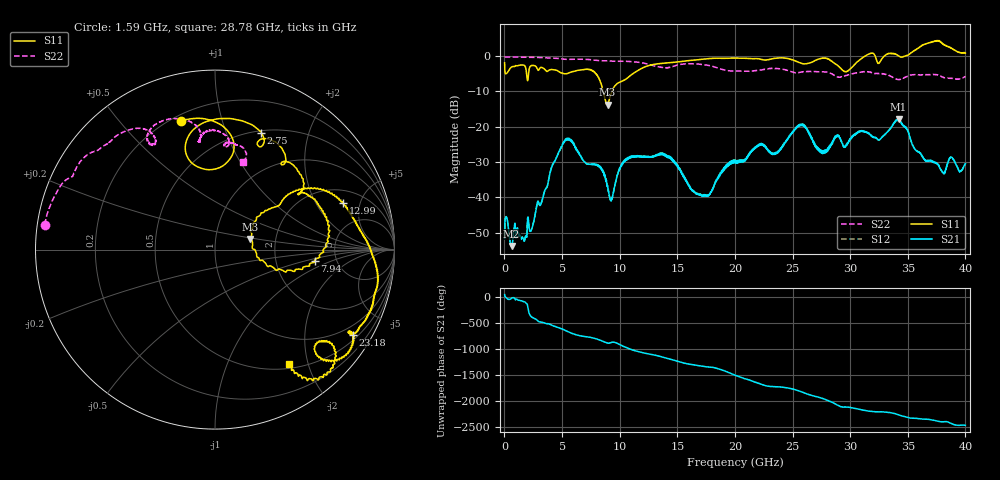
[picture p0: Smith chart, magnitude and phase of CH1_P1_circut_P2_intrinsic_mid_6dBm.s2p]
!Keysight Technologies,N5222B,MY61257109,A.17.25.03
!Date: Wednesday, July 22, 2026 17:37:06
!Correction: S11(C  2-Port  )
!S21(C  2-Port  )
!S12(C  2-Port  )
!S22(C  2-Port  )
!S2P File: Measurements: S11, S21, S12, S22:
# Hz S  dB  R 50
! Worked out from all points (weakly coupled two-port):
!   4000 points, 10 MHz to 40 GHz, reference 50 ohm
!   highest |S21| = -17.96 dB at 34.2 GHz (marker M1); lowest = -53.7 dB at 610 MHz (marker M2)
!   lowest |S11| = -13.8 dB at 8.95 GHz (marker M3), VSWR 1.51, Z = 73.7 + j9.02 ohm
!   |S11| at or under -10 dB: 8.564 GHz to 9.321 GHz (756.6 MHz wide, 8.46 % of centre)
!   |S22| runs from -6.7 to -0.3 dB; largest |S21 - S12| = 0.0058
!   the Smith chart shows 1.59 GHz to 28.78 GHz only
!   S11 on the Smith chart (normalised r, x): 1.59 GHz: 0.23, +0.74; 2.75 GHz: 0.52, +1.34; 7.94 GHz: 3.40, -0.63; 12.99 GHz: 2.85, +3.45; 23.18 GHz: 0.66, -3.38; 28.78 GHz: 0.57, -1.69
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1e7  -1.97 -53.1  -51.65 50.8  -51.20 49.5  -0.35 179.8
2.3e8  -4.81 -174.5  -46.08 -27.2  -46.15 -27.6  -0.33 178.8
6.1e8  -3.15 160.5  -53.74 -23.1  -53.77 -23.0  -0.33 176.8
1.59e9  -2.58 104.9  -51.54 -80.2  -51.53 -80.5  -0.36 171.6
2.75e9  -3.08 68.4  -43.26 -69.0  -43.16 -69.8  -0.44 165.5
5.23e9  -5.09 33.4  -23.82 84.7  -24.12 82.8  -0.96 153.2
6.68e9  -3.98 21.2  -28.81 -29.8  -28.78 -29.9  -0.95 147.3
7.94e9  -5.06 -6.6  -30.76 -82.0  -30.82 -82.4  -1.26 140.8
8.95e9  -13.78 16.6  -36.69 -166.3  -37.30 -164.0  -1.43 137.0
1.299e10  -2.42 20.0  -28.47 -35.8  -28.43 -35.9  -2.81 118.5
1.334e10  -2.26 16.9  -28.08 -53.3  -27.68 -51.9  -3.08 118.1
1.722e10  -0.95 -5.1  -39.69 107.2  -39.32 107.7  -2.44 105.0
2.001e10  -0.64 -20.9  -30.13 -65.6  -30.23 -64.8  -4.31 98.4
2.318e10  -0.89 -31.9  -27.74 75.3  -27.68 76.3  -3.53 92.5
2.667e10  -1.81 -39.4  -23.63 -96.7  -23.06 -96.1  -4.39 81.2
2.878e10  -2.41 -57.1  -22.97 90.5  -22.54 93.6  -5.81 72.2
3.017e10  -3.20 -34.0  -23.02 24.4  -22.65 25.3  -5.07 78.4
3.334e10  0.71 -48.6  -21.07 -63.7  -21.10 -64.0  -5.47 60.4
3.42e10  0.06 -57.8  -17.96 -109.9  -18.21 -110.1  -6.70 64.1
3.615e10  2.72 -55.4  -27.85 172.1  -27.81 172.4  -5.37 61.2
3.758e10  4.25 -81.0  -30.57 129.3  -30.54 129.3  -5.38 53.7
4e10  0.79 -99.9  -30.49 47.7  -30.52 48.7  -5.83 58.7
